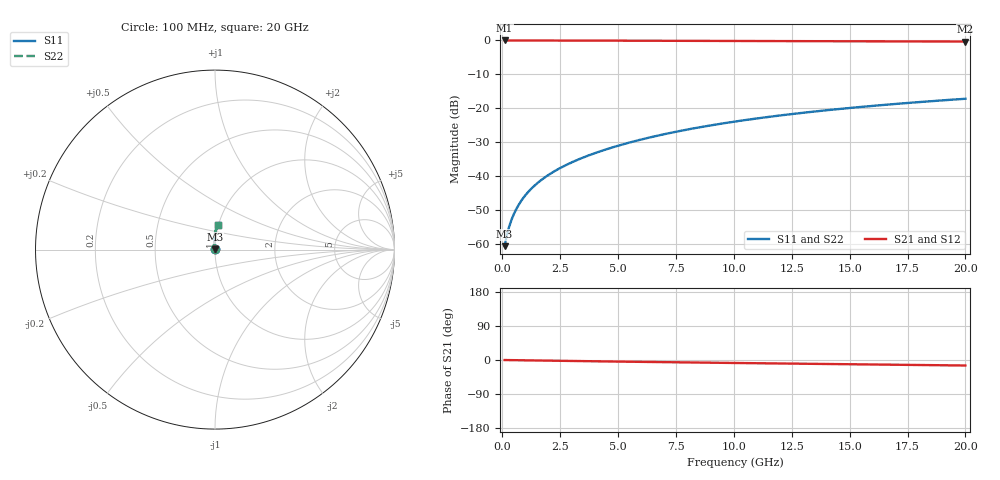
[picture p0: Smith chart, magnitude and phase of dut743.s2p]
! Touchstone file exported from HFSS 2024.1.0
!  File:  C:/UserFiles/LocalFiles/RDL_TSV_Batchsim/temp_RDL_bottom_743_1779859445.aedt
!  Generated:  01:26:15 PM May 27, 2026
!  Design:  RDL_bottom
!  Project:  temp_RDL_bottom_743_1779859445
!  Setup:  Setup1
!  Solution:  Sweep
! Variables:
!  dtsv = 10.80580581um
!  hbump = 3um
!  htsv = 94.45um
!  ldown = 191.82um
!  lrdl = 100um
!  p = 40
!  p1 = 52.42um
!  rhole = 1um
!  t = 450um
!  tdown = 4.56um
!  trdl = 3.915915916um
!  wdown = 28.88um
!  wrdl = 20um
# GHz S MA R 50.000000
! Terminal data exported
! Port[1] = RDL1_T1
! Port[2] = RDL1_T2
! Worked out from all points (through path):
!   200 points, 100 MHz to 20 GHz, reference 50 ohm
!   highest |S21| = -0.01 dB at 100 MHz (marker M1); lowest = -0.3 dB at 20 GHz (marker M2)
!   group delay of S21, straight-line fit = 1.98 ps
!   lowest |S11| = -60.7 dB at 100 MHz (marker M3), VSWR 1.00, Z = 50.1 + j0.059 ohm
!   |S11| at or under -10 dB: start of sweep to end of sweep
!   |S22| runs from -60.7 to -17.2 dB; largest |S21 - S12| = 3.2e-15
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0.1  0.0009259 39.5  0.9993 -0.1  0.9993 -0.1  0.0009259 39.5
! Gamma 0 0 0 0
! Port Impedance 50 0 50 0
0.2  0.00136 55.7  0.9992 -0.2  0.9992 -0.2  0.00136 55.7
0.3  0.001815 63.9  0.9991 -0.3  0.9991 -0.3  0.001815 63.9
0.4  0.00228 69.2  0.9991 -0.4  0.9991 -0.4  0.00228 69.2
0.5  0.002755 72.9  0.999 -0.4  0.999 -0.4  0.002755 72.9
0.6  0.003239 75.7  0.999 -0.5  0.999 -0.5  0.003239 75.7
0.8  0.004226 79.6  0.9989 -0.7  0.9989 -0.7  0.004226 79.6
1.1  0.005738 83.2  0.9986 -1.0  0.9986 -1.0  0.005738 83.2
1.5  0.007797 86.1  0.9983 -1.3  0.9983 -1.3  0.007797 86.1
1.8  0.00937 87.7  0.9979 -1.6  0.9979 -1.6  0.00937 87.7
2.1  0.01097 88.9  0.9975 -1.8  0.9975 -1.8  0.01097 88.9
2.7  0.01425 90.8  0.9966 -2.3  0.9966 -2.3  0.01425 90.8
3.5  0.01882 92.5  0.9951 -3.0  0.9951 -3.0  0.01882 92.5
4.2  0.02301 93.5  0.9936 -3.6  0.9936 -3.6  0.02301 93.5
5  0.02803 94.2  0.9918 -4.2  0.9918 -4.2  0.02803 94.3
6.8  0.0401 94.7  0.9876 -5.6  0.9876 -5.6  0.04011 94.7
8.4  0.05152 94.1  0.984 -6.7  0.984 -6.7  0.05152 94.1
10.1  0.06407 92.9  0.9803 -7.9  0.9803 -7.9  0.06408 92.9
11.7  0.07608 91.6  0.9771 -9.0  0.9771 -9.0  0.07609 91.6
13.4  0.0889 90.0  0.9739 -10.1  0.9739 -10.1  0.08891 90.0
16.7  0.1137 86.8  0.968 -12.4  0.968 -12.4  0.1137 86.8
20  0.138 83.7  0.9625 -14.5  0.9625 -14.5  0.138 83.7
